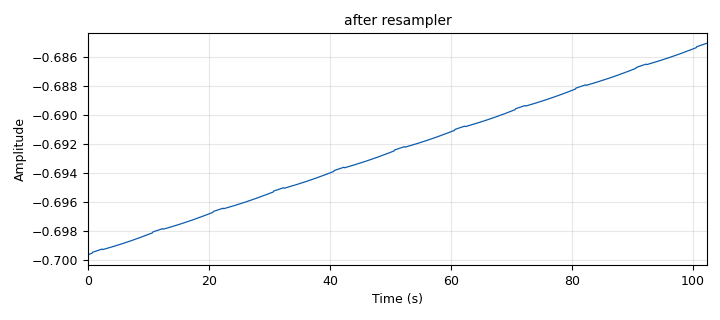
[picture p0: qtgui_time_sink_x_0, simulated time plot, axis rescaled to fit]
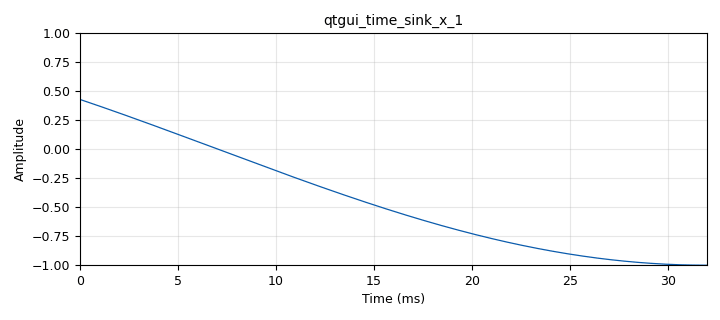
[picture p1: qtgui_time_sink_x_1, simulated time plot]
options:
  parameters:
    generate_options: qt_gui
    id: fmradio
    output_language: python
    title: Not titled yet
  states: {}

blocks:
- name: samp_rate
  id: variable
  parameters:
    value: 32e3
  states: {}
- name: analog_sig_source_x_0
  id: analog_sig_source_x
  parameters:
    amp: '1'
    freq: '10'
    offset: '0'
    phase: '0'
    samp_rate: samp_rate
    type: float
    waveform: analog.GR_COS_WAVE
  states: {}
- name: blocks_selector_0
  id: blocks_selector
  parameters:
    enabled: 'True'
    input_index: '0'
    num_inputs: '2'
    num_outputs: '2'
    output_index: '0'
    type: complex
  states: {}
- name: blocks_tagged_file_sink_0
  id: blocks_tagged_file_sink
  parameters:
    samp_rate: samp_rate
    type: complex
  states: {}
- name: filter_delay_fc_0
  id: filter_delay_fc
  parameters: {}
  states: {}
- name: gr_digital_rf_raster_select_0
  id: gr_digital_rf_raster_select
  parameters:
    agg: mean
    agg_op: take
    agg_op_args: (0,)
    input: fc32
    max_nagg: '0'
    max_raster_length: '0'
    max_select_length: '0'
    nagg: '1'
    raster_length: '10000'
    select_length: '0'
    select_start: '0'
    take_index: '0'
    vlen: '1'
  states: {}
- name: qtgui_time_sink_x_0
  id: qtgui_time_sink_x
  parameters:
    ctrlpanel: 'True'
    name: '"after resampler"'
    size: '1024'
    srate: '10'
    type: float
  states: {}
- name: qtgui_time_sink_x_1
  id: qtgui_time_sink_x
  parameters:
    ctrlpanel: 'True'
    size: '1024'
    srate: samp_rate
    type: float
  states: {}
- name: rational_resampler_xxx_0
  id: rational_resampler_xxx
  parameters:
    decim: '1'
    interp: '100'
    type: fff
  states: {}

connections:
- [analog_sig_source_x_0, '0', qtgui_time_sink_x_1, '0']
- [analog_sig_source_x_0, '0', rational_resampler_xxx_0, '0']
- [rational_resampler_xxx_0, '0', qtgui_time_sink_x_0, '0']

metadata:
  file_format: 1
  grc_version: 3.10.4.0
